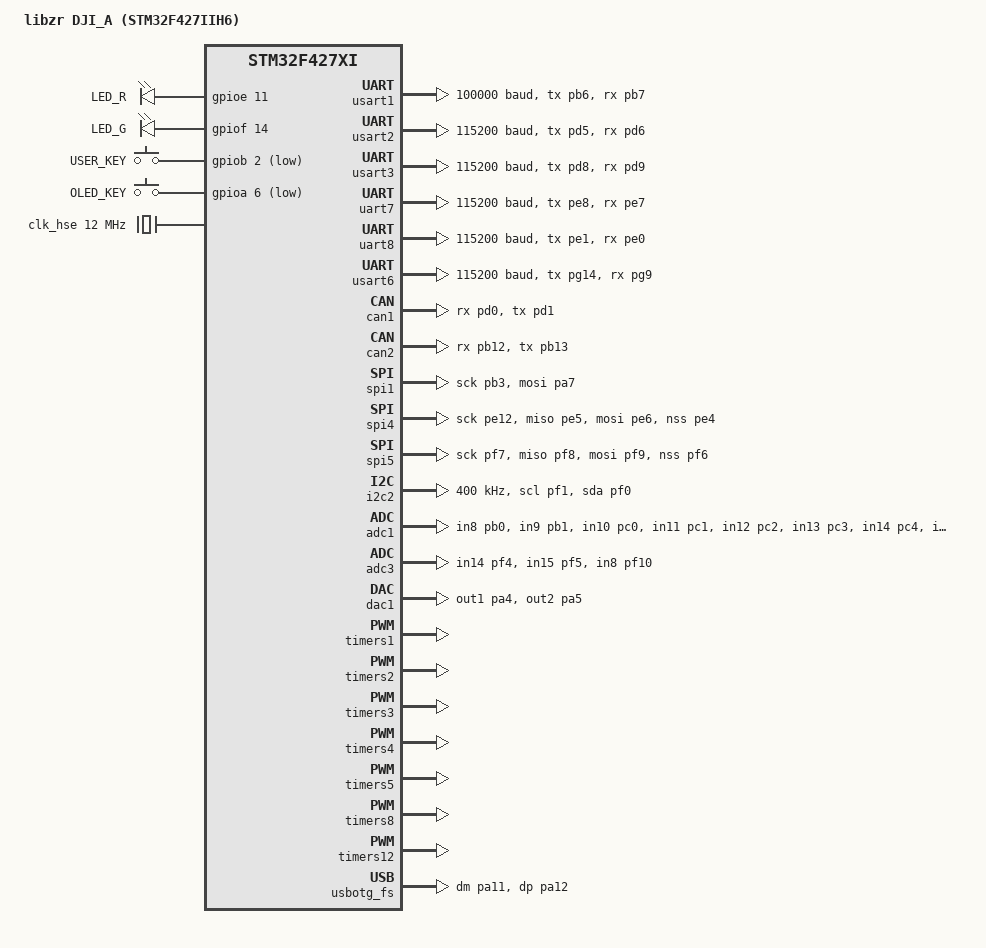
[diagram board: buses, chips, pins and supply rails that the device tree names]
/*
 * Copyright (c) 2026 libzr
 *
 * SPDX-License-Identifier: Apache-2.0
 *
 * libzr DJI_A 板级设备树
 *   MCU : STM32F427IIH6 (UFBGA176, 2 MB Flash / 192 KB SRAM + 64 KB CCM)
 *   晶振: HSE 12 MHz, SYSCLK 168 MHz
 *   调试: CMSIS-DAP / JLink, SWD
 *
 * 引脚定义来自 BetaRobot/cubemx/DJI_A 与 bsp/bsp_map/DJI_A。
 */

/dts-v1/;

#include <st/f4/stm32f427Xi.dtsi>
#include <st/f4/stm32f427i(g-i)hx-pinctrl.dtsi>
#include <zephyr/dt-bindings/input/input-event-codes.h>
#include <zephyr/dt-bindings/gpio/gpio.h>
#include <zephyr/dt-bindings/i2c/i2c.h>
#include <zephyr/dt-bindings/pwm/pwm.h>

/ {
	model = "libzr DJI_A (STM32F427IIH6)";
	compatible = "libzr,dji-a";

	chosen {
		/* USART1(PB6/PB7) 固定给 SBUS，控制台放在 USART2 */
		zephyr,console = &usart2;
		zephyr,shell-uart = &usart2;
		zephyr,sram = &sram0;
		zephyr,flash = &flash0;
		zephyr,canbus = &can1;
	};

	leds: leds {
		compatible = "gpio-leds";

		led_r: led_0 {
			gpios = <&gpioe 11 GPIO_ACTIVE_HIGH>;
			label = "LED_R";
		};

		led_g: led_1 {
			gpios = <&gpiof 14 GPIO_ACTIVE_HIGH>;
			label = "LED_G";
		};
	};

	gpio_keys: gpio_keys {
		compatible = "gpio-keys";

		/* 按键按低有效、内部上拉处理；若硬件相反请改为 GPIO_ACTIVE_HIGH */
		user_key: button_0 {
			label = "USER_KEY";
			gpios = <&gpiob 2 (GPIO_ACTIVE_LOW | GPIO_PULL_UP)>;
			zephyr,code = <INPUT_KEY_0>;
		};

		oled_key: button_1 {
			label = "OLED_KEY";
			gpios = <&gpioa 6 (GPIO_ACTIVE_LOW | GPIO_PULL_UP)>;
			zephyr,code = <INPUT_KEY_1>;
		};
	};

	aliases {
		led0 = &led_r;
		led1 = &led_g;
		sw0 = &user_key;
		sw1 = &oled_key;
	};
};

/* ------------------------------------------------------------------------- */
/* 时钟：HSE 12 MHz -> PLL 168 MHz                                            */
/* ------------------------------------------------------------------------- */

&clk_hse {
	clock-frequency = <DT_FREQ_M(12)>;
	status = "okay";
};

&pll {
	div-m = <6>;
	mul-n = <168>;
	div-p = <2>;
	div-q = <7>;
	clocks = <&clk_hse>;
	status = "okay";
};

&rcc {
	clocks = <&pll>;
	clock-frequency = <DT_FREQ_M(168)>;
	ahb-prescaler = <1>;
	apb1-prescaler = <4>;	/* 42 MHz  */
	apb2-prescaler = <2>;	/* 84 MHz  */
};

/* ------------------------------------------------------------------------- */
/* 串口                                                                       */
/* ------------------------------------------------------------------------- */

/* USART1: SBUS 接收 (100000 8E1)，仅接收 */
&usart1 {
	pinctrl-0 = <&usart1_tx_pb6 &usart1_rx_pb7>;
	pinctrl-names = "default";
	current-speed = <100000>;
	status = "okay";
};

/* USART2: 控制台 / 通用串口 */
&usart2 {
	pinctrl-0 = <&usart2_tx_pd5 &usart2_rx_pd6>;
	pinctrl-names = "default";
	current-speed = <115200>;
	status = "okay";
};

/* USART3: 通用串口 */
&usart3 {
	pinctrl-0 = <&usart3_tx_pd8 &usart3_rx_pd9>;
	pinctrl-names = "default";
	current-speed = <115200>;
	status = "okay";
};

/* UART7 / UART8: 图传、裁判系统等 */
&uart7 {
	pinctrl-0 = <&uart7_tx_pe8 &uart7_rx_pe7>;
	pinctrl-names = "default";
	current-speed = <115200>;
	status = "okay";
};

&uart8 {
	pinctrl-0 = <&uart8_tx_pe1 &uart8_rx_pe0>;
	pinctrl-names = "default";
	current-speed = <115200>;
	status = "okay";
};

/* USART6: 四针串口 */
&usart6 {
	pinctrl-0 = <&usart6_tx_pg14 &usart6_rx_pg9>;
	pinctrl-names = "default";
	current-speed = <115200>;
	status = "okay";
};

/* ------------------------------------------------------------------------- */
/* CAN                                                                        */
/* ------------------------------------------------------------------------- */

&can1 {
	pinctrl-0 = <&can1_rx_pd0 &can1_tx_pd1>;
	pinctrl-names = "default";
	status = "okay";
};

&can2 {
	pinctrl-0 = <&can2_rx_pb12 &can2_tx_pb13>;
	pinctrl-names = "default";
	status = "okay";
};

/* ------------------------------------------------------------------------- */
/* SPI                                                                        */
/* ------------------------------------------------------------------------- */

/* SPI1: 只发不收 (OLED)，PB3=SCK, PA7=MOSI */
&spi1 {
	pinctrl-0 = <&spi1_sck_pb3 &spi1_mosi_pa7>;
	pinctrl-names = "default";
	status = "okay";
};

/* SPI4: PE12=SCK, PE5=MISO, PE6=MOSI, PE4=NSS */
&spi4 {
	pinctrl-0 = <&spi4_sck_pe12 &spi4_miso_pe5 &spi4_mosi_pe6 &spi4_nss_pe4>;
	pinctrl-names = "default";
	status = "okay";
};

/* SPI5: PF7=SCK, PF8=MISO, PF9=MOSI, PF6=NSS */
&spi5 {
	pinctrl-0 = <&spi5_sck_pf7 &spi5_miso_pf8 &spi5_mosi_pf9 &spi5_nss_pf6>;
	pinctrl-names = "default";
	status = "okay";
};

/* ------------------------------------------------------------------------- */
/* I2C                                                                        */
/* ------------------------------------------------------------------------- */

/* I2C2: IST8310 磁力计 */
&i2c2 {
	pinctrl-0 = <&i2c2_scl_pf1 &i2c2_sda_pf0>;
	pinctrl-names = "default";
	clock-frequency = <I2C_BITRATE_FAST>;
	status = "okay";
};

/* ------------------------------------------------------------------------- */
/* ADC                                                                        */
/* ------------------------------------------------------------------------- */

/* ADC1: 电池电压 / 电流等 */
&adc1 {
	pinctrl-0 = <&adc1_in8_pb0 &adc1_in9_pb1 &adc1_in10_pc0
		     &adc1_in11_pc1 &adc1_in12_pc2 &adc1_in13_pc3
		     &adc1_in14_pc4 &adc1_in15_pc5>;
	pinctrl-names = "default";
	st,adc-prescaler = <4>;
	status = "okay";
};

/* ADC3: PF4 / PF5 / PF10 */
&adc3 {
	pinctrl-0 = <&adc3_in14_pf4 &adc3_in15_pf5 &adc3_in8_pf10>;
	pinctrl-names = "default";
	st,adc-prescaler = <4>;
	status = "okay";
};

/* ------------------------------------------------------------------------- */
/* DAC                                                                        */
/* ------------------------------------------------------------------------- */

/* DAC1: PA4 = OUT1, PA5 = OUT2 */
&dac1 {
	pinctrl-0 = <&dac_out1_pa4 &dac_out2_pa5>;
	pinctrl-names = "default";
	status = "okay";
};

/* ------------------------------------------------------------------------- */
/* PWM                                                                        */
/* ------------------------------------------------------------------------- */

/* TIM1: PA8 / PA9 / PE13 / PE14 */
&timers1 {
	status = "okay";

	pwm1: pwm {
		status = "okay";
		pinctrl-0 = <&tim1_ch1_pa8 &tim1_ch2_pa9
			     &tim1_ch3_pe13 &tim1_ch4_pe14>;
		pinctrl-names = "default";
	};
};

/* TIM2: PA0 / PA1 / PA2 / PA3 */
&timers2 {
	status = "okay";

	pwm2: pwm {
		status = "okay";
		pinctrl-0 = <&tim2_ch1_pa0 &tim2_ch2_pa1
			     &tim2_ch3_pa2 &tim2_ch4_pa3>;
		pinctrl-names = "default";
	};
};

/* TIM3_CH2: PB5，加热 */
&timers3 {
	status = "okay";

	pwm3: pwm {
		status = "okay";
		pinctrl-0 = <&tim3_ch2_pb5>;
		pinctrl-names = "default";
	};
};

/* TIM4: PD12 / PD13 / PD14 / PD15 */
&timers4 {
	status = "okay";

	pwm4: pwm {
		status = "okay";
		pinctrl-0 = <&tim4_ch1_pd12 &tim4_ch2_pd13
			     &tim4_ch3_pd14 &tim4_ch4_pd15>;
		pinctrl-names = "default";
	};
};

/* TIM5: PH10 / PH11 / PH12 / PI0 */
&timers5 {
	status = "okay";

	pwm5: pwm {
		status = "okay";
		pinctrl-0 = <&tim5_ch1_ph10 &tim5_ch2_ph11
			     &tim5_ch3_ph12 &tim5_ch4_pi0>;
		pinctrl-names = "default";
	};
};

/* TIM8: PI5 / PI6 / PI7 / PI2 */
&timers8 {
	status = "okay";

	pwm8: pwm {
		status = "okay";
		pinctrl-0 = <&tim8_ch1_pi5 &tim8_ch2_pi6
			     &tim8_ch3_pi7 &tim8_ch4_pi2>;
		pinctrl-names = "default";
	};
};

/* TIM12_CH1: PH6，蜂鸣器 (4 kHz) */
&timers12 {
	status = "okay";

	pwm12: pwm {
		status = "okay";
		pinctrl-0 = <&tim12_ch1_ph6>;
		pinctrl-names = "default";
	};
};

/* ------------------------------------------------------------------------- */
/* USB                                                                        */
/* ------------------------------------------------------------------------- */

zephyr_udc0: &usbotg_fs {
	pinctrl-0 = <&usb_otg_fs_dm_pa11 &usb_otg_fs_dp_pa12>;
	pinctrl-names = "default";
	status = "okay";
};
